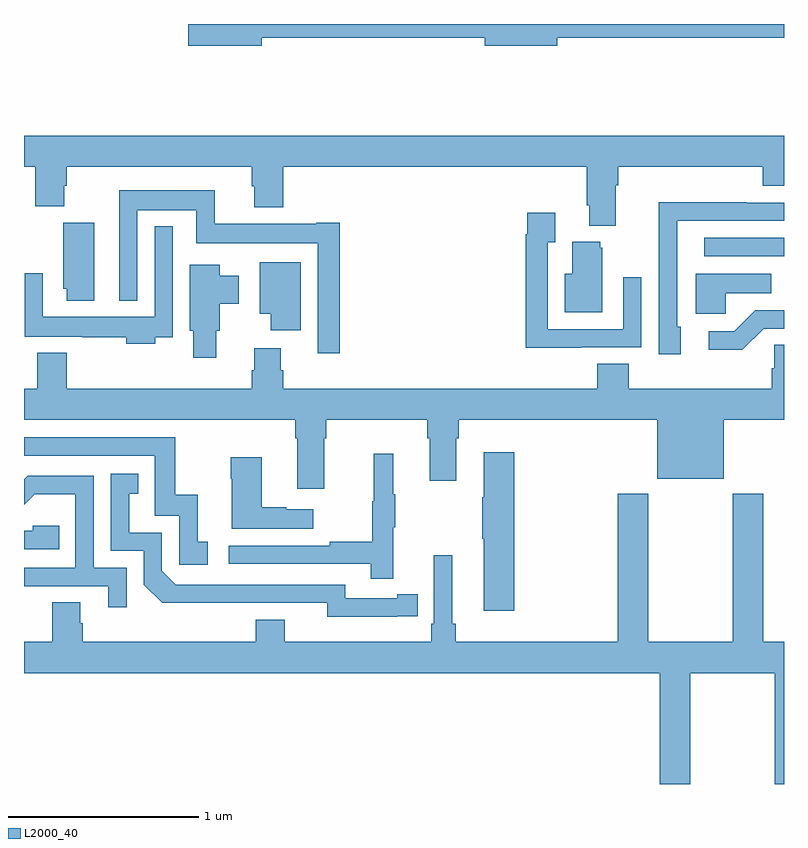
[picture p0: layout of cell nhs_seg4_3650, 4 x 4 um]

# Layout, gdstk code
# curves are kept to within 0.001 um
import gdstk
lib = gdstk.Library(unit=1e-6, precision=1e-09)
def R(c, l, rs):  # rectangles x0, y0, x1, y1
    for r in rs: c.add(gdstk.rectangle(r[:2], r[2:], *l))
def P(c, l, *ps):  # polygons
    for p in ps: c.add(gdstk.Polygon(p, *l))
L2000_40 = (2000, 40)

nhs_seg4_3650 = lib.new_cell('nhs_seg4_3650')
R(nhs_seg4_3650, L2000_40, [(306.579,801.678,307,801.774)])
P(nhs_seg4_3650, L2000_40, [(304.252,802.828),(305.426,802.828),(305.426,802.786),(305.806,802.786),(305.806,802.828),(307,802.828),(307,802.9),(303.864,802.9),(303.864,802.786),(304.252,802.786)],
  [(306.115,802.052),(306.128,802.052),(306.128,802.148),(306.887,802.148),(306.887,802.049),(307,802.049),(307,802.312),(303,802.312),(303,802.148),(303.059,802.148),(303.059,801.94),(303.211,801.94),(303.211,802.049),(303.224,802.049),(303.224,802.148),(304.199,802.148),(304.199,802.047),(304.211,802.047),(304.211,801.935),(304.364,801.935),(304.364,802.148),(305.963,802.148),(305.963,801.946),(305.975,801.946),(305.975,801.839),(306.115,801.839)],
  [(304.661,801.853),(304.538,801.853),(304.538,801.85),(304.004,801.85),(304.004,802.024),(303.5,802.024),(303.5,801.443),(303.597,801.443),(303.597,801.92),(303.906,801.92),(303.906,801.746),(304.545,801.746),(304.545,801.168),(304.661,801.168)],
  [(306.457,801.306),(306.438,801.306),(306.438,801.61),(306.439,801.61),(306.439,801.864),(307,801.864),(307,801.96),(306.803,801.96),(306.803,801.962),(306.34,801.962),(306.34,801.655),(306.342,801.655),(306.342,801.162),(306.457,801.162)],
  [(305.933,801.198),(306.249,801.198),(306.249,801.568),(306.153,801.568),(306.153,801.294),(305.757,801.294),(305.757,801.751),(305.797,801.751),(305.797,801.907),(305.649,801.907),(305.649,801.794),(305.641,801.794),(305.641,801.197),(305.933,801.197)],
  [(303.37,801.855),(303.206,801.855),(303.206,801.507),(303.224,801.507),(303.224,801.444),(303.37,801.444)],
  [(303.691,801.252),(303.783,801.252),(303.783,801.835),(303.687,801.835),(303.687,801.358),(303.099,801.358),(303.099,801.589),(303.003,801.589),(303.003,801.254),(303.307,801.254),(303.307,801.252),(303.539,801.252),(303.539,801.218),(303.691,801.218)],
  [(306.043,801.723),(306.032,801.723),(306.032,801.754),(305.885,801.754),(305.885,801.586),(305.846,801.586),(305.846,801.383),(306.043,801.383)],
  [(304.456,801.646),(304.241,801.646),(304.241,801.374),(304.298,801.374),(304.298,801.288),(304.456,801.288)],
  [(304.012,801.285),(304.03,801.285),(304.03,801.427),(304.129,801.427),(304.129,801.574),(304.03,801.574),(304.03,801.634),(303.872,801.634),(303.872,801.285),(303.89,801.285),(303.89,801.144),(304.012,801.144)],
  [(306.693,801.482),(306.932,801.482),(306.932,801.586),(306.536,801.586),(306.536,801.374),(306.693,801.374)],
  [(306.894,801.297),(307,801.297),(307,801.393),(306.848,801.393),(306.737,801.282),(306.603,801.282),(306.603,801.185),(306.781,801.185)],
  [(304.579,800.72),(304.592,800.72),(304.592,800.816),(305.123,800.816),(305.123,800.72),(305.135,800.72),(305.135,800.496),(305.275,800.496),(305.275,800.72),(305.288,800.72),(305.288,800.816),(306.332,800.816),(306.332,800.507),(306.682,800.507),(306.682,800.816),(307,800.816),(307,801.212),(306.948,801.212),(306.948,801.089),(306.935,801.089),(306.935,800.98),(306.182,800.98),(306.182,801.113),(306.017,801.113),(306.017,800.98),(304.364,800.98),(304.364,801.078),(304.351,801.078),(304.351,801.193),(304.211,801.193),(304.211,801.078),(304.199,801.078),(304.199,800.98),(303.224,800.98),(303.224,801.169),(303.071,801.169),(303.071,800.98),(303,800.98),(303,800.816),(304.427,800.816),(304.427,800.72),(304.439,800.72),(304.439,800.454),(304.579,800.454)],
  [(303.967,800.175),(303.914,800.175),(303.914,800.422),(303.796,800.422),(303.796,800.724),(303,800.724),(303,800.628),(303.687,800.628),(303.687,800.313),(303.816,800.313),(303.816,800.055),(303.967,800.055)],
  [(305.579,800.647),(305.42,800.647),(305.42,800.408),(305.413,800.408),(305.413,800.191),(305.42,800.191),(305.42,799.812),(305.579,799.812)],
  [(304.943,800.251),(304.954,800.251),(304.954,800.425),(304.943,800.425),(304.943,800.638),(304.84,800.638),(304.84,800.388),(304.833,800.388),(304.833,800.174),(304.609,800.174),(304.609,800.154),(304.077,800.154),(304.077,800.058),(304.825,800.058),(304.825,799.98),(304.943,799.98)],
  [(304.522,800.347),(304.379,800.347),(304.379,800.357),(304.252,800.357),(304.252,800.62),(304.087,800.62),(304.087,800.507),(304.094,800.507),(304.094,800.243),(304.522,800.243)],
  [(304.964,799.782),(305.072,799.782),(305.072,799.898),(304.964,799.898),(304.964,799.878),(304.692,799.878),(304.692,799.95),(303.798,799.95),(303.726,800.022),(303.726,800.223),(303.553,800.223),(303.553,800.427),(303.602,800.427),(303.602,800.533),(303.456,800.533),(303.456,800.127),(303.63,800.127),(303.63,799.95),(303.728,799.853),(304.596,799.854),(304.596,799.781)],
  [(303.54,800.037),(303.366,800.037),(303.366,800.523),(303.02,800.523),(303,800.503),(303,800.37),(303.056,800.426),(303.27,800.426),(303.27,800.037),(303,800.037),(303,799.941),(303.443,799.941),(303.443,799.83),(303.54,799.83)],
  [(306.507,799.484),(306.952,799.484),(306.952,798.9),(307,798.9),(307,799.648),(306.89,799.648),(306.89,800.428),(306.73,800.428),(306.73,799.648),(306.285,799.648),(306.285,800.428),(306.125,800.428),(306.125,799.648),(305.273,799.648),(305.273,799.744),(305.254,799.744),(305.254,800.104),(305.157,800.104),(305.157,799.744),(305.144,799.744),(305.144,799.648),(304.372,799.648),(304.372,799.765),(304.22,799.765),(304.22,799.648),(303.308,799.648),(303.308,799.746),(303.295,799.746),(303.295,799.856),(303.148,799.856),(303.148,799.648),(303,799.648),(303,799.484),(306.347,799.484),(306.347,798.9),(306.507,798.9)],
  [(303.185,800.259),(303.045,800.259),(303.045,800.232),(303,800.232),(303,800.136),(303.185,800.136)])

lib.write_gds('nhs_seg4_3650.gds')
